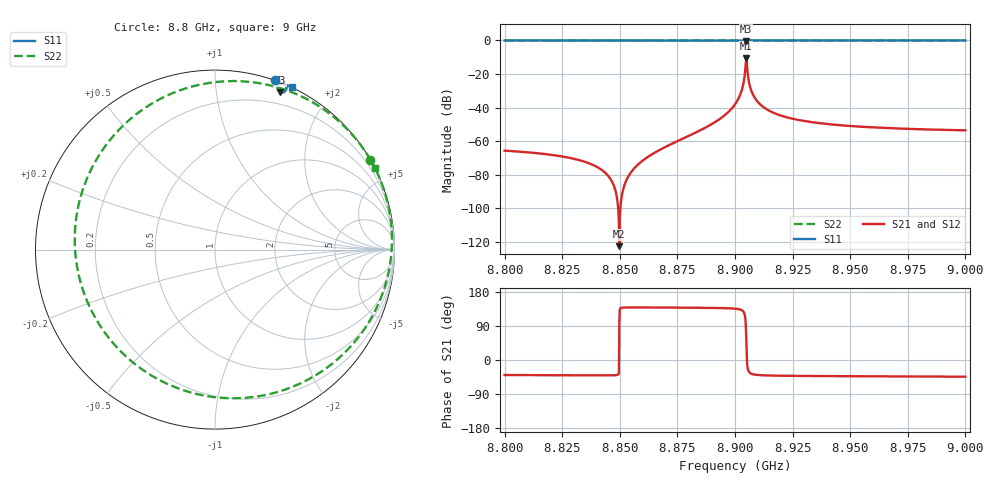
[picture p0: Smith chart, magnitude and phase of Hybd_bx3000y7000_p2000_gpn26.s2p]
! Sonnet Data File
! From: emgraph Version : 16.52
! From Project: Resonator2
! Data is De-embedded
! Data File Written: 10/06/2017 09:13:21
!< HDATE 10/05/2017 15:18:40
!< MDATE 10/05/2017 15:18:40
!< PARAMS
!< gap = 26.0
!< Length = 400.0
!< Pwid1 = 2000.0
!< Pwid2 = 2000.0
!< END PARAMS
# GHZ S MA R 50.0 !  non standard terminations in data
! TERM 51.80000 0.000000 35.97000 0.000000
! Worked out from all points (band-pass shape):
!   1595 points, 8.8 GHz to 9 GHz, reference 50 ohm
!   highest |S21| = -10.47 dB at 8.9049 GHz (marker M1); lowest = -122.4 dB at 8.8498 GHz (marker M2)
!   |S21| within 3 dB of the highest: 8.904669 GHz to 8.90512 GHz (451.3 kHz wide, 0.00507 % of centre)
!   lowest |S11| = -0.5 dB at 8.9049 GHz (marker M3), VSWR 38.39, Z = 4.22 + j74.7 ohm
!   |S11| at or under -10 dB: nowhere
!   |S22| runs from -2.3 to 0.0 dB; largest |S21 - S12| = 0
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8.8  1 70.6  0.0005262 -39.6  0.0005262 -39.6  1 30.1
!< P1 F=8.8 Eeff=(6.44679989 -2.9721e-5) Z0=(51.7992624 1.19519e-4) R=0.0 C=0.0
!< P2 F=8.8 Eeff=(5.36817953 -2.3731e-5) Z0=(35.9853883 8.0522e-5) R=0.0 C=0.0
8.8334  1 69.6  0.0002626 -40.4  0.0002626 -40.4  1 29.4
8.8498  1 69.1  7.563e-07 101.2  7.563e-07 101.2  1 29.0
8.854  1 69.0  9.723e-05 138.7  9.723e-05 138.7  1 28.9
8.8668  1 68.6  0.0005297 138.5  0.0005297 138.5  1 28.6
8.8906  1 67.9  0.003463 137.4  0.003463 137.4  0.9999 27.2
8.9  0.9999 67.5  0.01255 135.4  0.01255 135.4  0.9996 23.9
8.903188  0.9992 67.2  0.03811 130.5  0.03811 130.5  0.9965 15.2
8.904361  0.9925 66.4  0.1161 115.0  0.1161 115.0  0.9681 -12.6
8.904649  0.977 66.0  0.203 95.1  0.203 95.1  0.8999 -49.9
8.904793  0.9578 66.3  0.2735 71.8  0.2735 71.8  0.8102 -97.7
8.904894  0.9492 67.5  0.2996 47.6  0.2996 47.6  0.7675 -152.2
8.904962  0.9536 68.3  0.2868 31.0  0.2868 31.0  0.7899 169.8
8.905046  0.9653 68.9  0.2488 13.9  0.2488 13.9  0.8472 133.1
8.905205  0.9826 68.9  0.1768 -6.1  0.1768 -6.1  0.9264 93.5
8.905432  0.9924 68.5  0.117 -19.3  0.117 -19.3  0.9686 69.1
8.905816  0.9971 68.1  0.07253 -28.3  0.07253 -28.3  0.9882 52.9
8.907011  0.9994 67.7  0.0331 -36.0  0.0331 -36.0  0.9976 39.3
8.9152  1 67.2  0.007877 -41.0  0.007877 -41.0  0.9999 30.6
8.9334  1 66.7  0.003703 -42.2  0.003703 -42.2  1 28.8
8.9668  1 65.6  0.002461 -43.2  0.002461 -43.2  1 27.9
9  1 64.6  0.002119 -44.1  0.002119 -44.1  1 27.2
